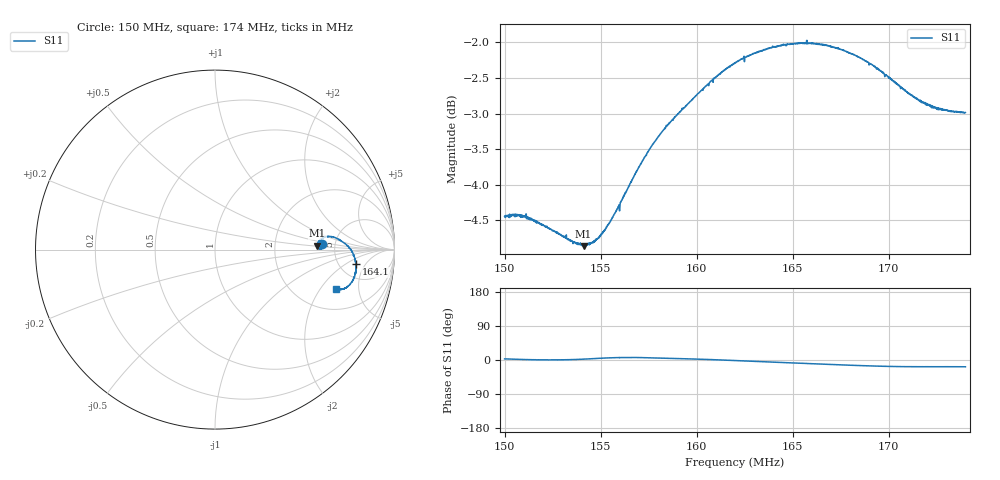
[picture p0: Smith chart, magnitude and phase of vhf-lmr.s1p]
! Calibrated averaged scanner-service zoom
# Hz S RI R 50
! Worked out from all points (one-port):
!   2001 points, 150 MHz to 174 MHz, reference 50 ohm
!   lowest |S11| = -4.9 dB at 154.1 MHz (marker M1), VSWR 3.66, Z = 182 + j12.1 ohm
!   |S11| at or under -10 dB: nowhere
!   S11 on the Smith chart (normalised r, x): 150 MHz: 3.95, +0.38; 164.1 MHz: 7.14, -3.04; 174 MHz: 3.25, -2.84
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1.5e8  0.5987 0.0307
1.51008e8  0.5995 0.013
1.51548e8  0.5952 0.00718
1.5234e8  0.5874 0.00328
1.53e8  0.5802 0.00484
1.53624e8  0.5748 0.0125
1.54116e8  0.5706 0.0223
1.54596e8  0.5739 0.035
1.54968e8  0.5781 0.046
1.56e8  0.6042 0.0651
1.56564e8  0.6286 0.0727
1.572e8  0.6521 0.0719
1.58124e8  0.6824 0.0607
1.59e8  0.7053 0.0469
1.60596e8  0.7424 0.0175
1.62e8  0.7679 -0.0195
1.63008e8  0.7791 -0.0487
1.64088e8  0.7844 -0.0804
1.65e8  0.7856 -0.1069
1.6584e8  0.7823 -0.1312
1.6662e8  0.7764 -0.1521
1.68e8  0.758 -0.1858
1.68876e8  0.7425 -0.2035
1.69608e8  0.7272 -0.2137
1.7034e8  0.7117 -0.22
1.71e8  0.697 -0.2219
1.72356e8  0.6817 -0.2179
1.74e8  0.6748 -0.2178
